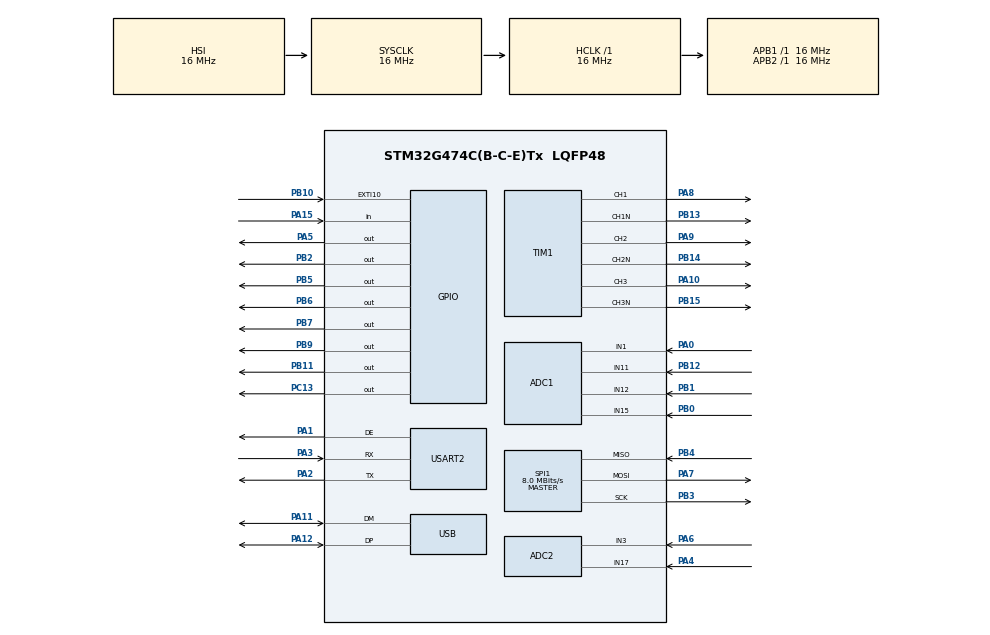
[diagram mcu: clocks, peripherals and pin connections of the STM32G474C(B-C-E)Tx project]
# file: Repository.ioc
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ADC1.Channel-1\#ChannelRegularConversion=ADC_CHANNEL_1
ADC1.NbrOfConversionFlag=1
ADC1.OffsetNumber-1\#ChannelRegularConversion=ADC_OFFSET_NONE
ADC1.Rank-1\#ChannelRegularConversion=1
ADC1.SamplingTime-1\#ChannelRegularConversion=ADC_SAMPLETIME_2CYCLES_5
ADC1.master=1
ADC2.Channel-0\#ChannelRegularConversion=ADC_CHANNEL_17
ADC2.NbrOfConversionFlag=1
ADC2.OffsetNumber-0\#ChannelRegularConversion=ADC_OFFSET_NONE
ADC2.Rank-0\#ChannelRegularConversion=1
ADC2.SamplingTime-0\#ChannelRegularConversion=ADC_SAMPLETIME_2CYCLES_5
Mcu.Family=STM32G4
Mcu.Name=STM32G474C(B-C-E)Tx
Mcu.Package=LQFP48
NVIC.ADC1_2_IRQn=true\:0\:0\:false\:false\:true\:true\:true\:true
NVIC.PriorityGroup=NVIC_PRIORITYGROUP_4
PA0.Mode=IN1-Single-Ended
PA0.Signal=ADC1_IN1
PA1.Mode=Hardware Flow Control (RS485)
PA1.Signal=USART2_DE
PA10.Signal=S_TIM1_CH3
PA11.Mode=Device
PA11.Signal=USB_DM
PA12.Mode=Device
PA12.Signal=USB_DP
PA13.Mode=Serial_Wire
PA13.Signal=SYS_JTMS-SWDIO
PA14.Mode=Serial_Wire
PA14.Signal=SYS_JTCK-SWCLK
PA15.Signal=GPIO_Input
PA2.Mode=Asynchronous
PA2.Signal=USART2_TX
PA3.Mode=Asynchronous
PA3.Signal=USART2_RX
PA4.Mode=IN17-Single-Ended
PA4.Signal=ADC2_IN17
PA5.Signal=GPIO_Output
PA6.Mode=IN3-Single-Ended
PA6.Signal=ADC2_IN3
PA7.Mode=Full_Duplex_Master
PA7.Signal=SPI1_MOSI
PA8.Signal=S_TIM1_CH1
PA9.Signal=S_TIM1_CH2
PB0.Mode=IN15-Single-Ended
PB0.Signal=ADC1_IN15
PB1.Mode=IN12-Single-Ended
PB1.Signal=ADC1_IN12
PB10.Signal=GPXTI10
PB11.Signal=GPIO_Output
PB12.Mode=IN11-Single-Ended
PB12.Signal=ADC1_IN11
PB13.Mode=PWM Generation1 CH1 CH1N
PB13.Signal=TIM1_CH1N
PB14.Mode=PWM Generation2 CH2 CH2N
PB14.Signal=TIM1_CH2N
PB15.Mode=PWM Generation3 CH3 CH3N
PB15.Signal=TIM1_CH3N
PB2.Signal=GPIO_Output
PB3.Mode=Full_Duplex_Master
PB3.Signal=SPI1_SCK
PB4.Mode=Full_Duplex_Master
PB4.Signal=SPI1_MISO
PB5.Signal=GPIO_Output
PB6.Signal=GPIO_Output
PB7.Signal=GPIO_Output
PB9.Signal=GPIO_Output
PC13.Signal=GPIO_Output
PC14-OSC32_IN.Mode=LSE-External-Oscillator
PC14-OSC32_IN.Signal=RCC_OSC32_IN
PC15-OSC32_OUT.Mode=LSE-External-Oscillator
PC15-OSC32_OUT.Signal=RCC_OSC32_OUT
PF0-OSC_IN.Mode=HSE-External-Oscillator
PF0-OSC_IN.Signal=RCC_OSC_IN
PF1-OSC_OUT.Mode=HSE-External-Oscillator
PF1-OSC_OUT.Signal=RCC_OSC_OUT
ProjectManager.HeapSize=0x200
ProjectManager.StackSize=0x400
ProjectManager.TargetToolchain=Makefile
RCC.ADC12Freq_Value=16000000
RCC.ADC345Freq_Value=16000000
RCC.AHBFreq_Value=16000000
RCC.APB1Freq_Value=16000000
RCC.APB1TimFreq_Value=16000000
RCC.APB2Freq_Value=16000000
RCC.APB2TimFreq_Value=16000000
RCC.CortexFreq_Value=16000000
RCC.EXTERNAL_CLOCK_VALUE=12288000
RCC.HCLKFreq_Value=16000000
RCC.HSE_VALUE=16000000
RCC.HSI48_VALUE=48000000
RCC.HSI_VALUE=16000000
RCC.PLLN=12
RCC.PLLQ=RCC_PLLQ_DIV4
RCC.SYSCLKFreq_VALUE=16000000
RCC.USBFreq_Value=48000000
RCC.VCOOutputFreq_Value=192000000
SH.S_TIM1_CH1.0=TIM1_CH1,PWM Generation1 CH1 CH1N
SH.S_TIM1_CH2.0=TIM1_CH2,PWM Generation2 CH2 CH2N
SH.S_TIM1_CH3.0=TIM1_CH3,PWM Generation3 CH3 CH3N
SPI1.CalculateBaudRate=8.0 MBits/s
SPI1.Direction=SPI_DIRECTION_2LINES
SPI1.Mode=SPI_MODE_MASTER
SPI1.VirtualType=VM_MASTER
TIM1.Channel-PWM\ Generation1\ CH1\ CH1N=TIM_CHANNEL_1
TIM1.Channel-PWM\ Generation2\ CH2\ CH2N=TIM_CHANNEL_2
TIM1.Channel-PWM\ Generation3\ CH3\ CH3N=TIM_CHANNEL_3
TIM1.CounterMode=TIM_COUNTERMODE_CENTERALIGNED1
TIM1.DeadTime=5
TIM1.TIM_MasterOutputTrigger=TIM_TRGO_UPDATE
USART2.VirtualMode-Asynchronous=VM_ASYNC
USART2.VirtualMode-Hardware\ Flow\ Control\ (RS485)=VM_ASYNC
VP_SYS_VS_DBSignals.Mode=DisableDeadBatterySignals
board=custom

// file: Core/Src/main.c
/* USER CODE BEGIN Header */
/**
  ******************************************************************************
  * @file           : main.c
  * @brief          : Main program body
  ******************************************************************************
  * @attention
  *
  * Copyright (c) 2026 STMicroelectronics.
  * All rights reserved.
  *
  * This software is licensed under terms that can be found in the LICENSE file
  * in the root directory of this software component.
  * If no LICENSE file comes with this software, it is provided AS-IS.
  *
  ******************************************************************************
  */
/* USER CODE END Header */
#include "main.h"

/* USER CODE BEGIN PD */

/* ----- Open-loop V/Hz sinusoidal drive (STGIPN3H60T IPM, Mitsubishi
 * HC-KFS13 PMSM servo) -----
 * TIM1 timer clock = 16 MHz, center-aligned: f_pwm = 16e6 / (2 * PWM_ARR).
 * PWM_ARR = 400 -> 20 kHz PWM. */
#define PWM_ARR                  400u

/* HC-KFS13 is a 100 W, 200 Vac-class PMSM (0.71 A / 3000 r/min rated, per
 * Mitsubishi's published specs). Its exact pole-pair count isn't in the
 * generally available manuals; 4 pole pairs (8 poles) is typical for this
 * small low-inertia Mitsubishi servo class and used below purely to relate
 * electrical frequency to an approximate mechanical speed in comments --
 * open-loop drive correctness doesn't depend on it. Verify against the
 * motor nameplate/manual if the exact RPM matters. */
#define MOTOR_POLE_PAIRS         4u

/* One electrical cycle, values in [-1, 1]. 96 so that a 120-degree phase
 * shift is an exact 32-sample index offset (96 / 3), avoiding any
 * interpolation/rounding error between the three phases. */
#define SINE_LUT_SIZE            96u

/* TIM1 runs center-aligned, so the update event fires on both the up- and
 * down-count each PWM period -> 2x the 20 kHz carrier. */
#define PWM_UPDATE_HZ            40000.0f
#define LUT_STEP_PER_HZ          ((float)SINE_LUT_SIZE / PWM_UPDATE_HZ)

/* Open-loop start-up ramp: electrical frequency ramps 0 -> ELEC_FREQ_TARGET_HZ
 * over RAMP_TIME_S seconds; modulation index (PWM duty amplitude) ramps
 * alongside it from a fixed low-speed boost (M_START, to overcome resistive
 * drop/static friction while electrical frequency is near 0) up to
 * M_TARGET. No encoder feedback and no current limiting: this only proves
 * the waveform is a genuine rotating field, it is not closed-loop servo
 * control. Keep M_TARGET conservative until current has been verified on
 * the phase shunts (IU/IV/IW) with a scope. */
#define ELEC_FREQ_TARGET_HZ      20.0f     /* -> ~300 r/min @ 4 pole pairs */
#define RAMP_TIME_S              5.0f
#define M_START                  0.10f
#define M_TARGET                 0.80f
#define RAMP_STEP_PER_TICK       (1.0f / (RAMP_TIME_S * PWM_UPDATE_HZ))

/* ----- RS485 daisy-chain ping/pong (USART2, shared TX/RX bus over both
 * RJ45 jacks) ----- */
#define DC_FRAME_LEN             8u
#define DC_SYNC0                 0xAAu
#define DC_SYNC1                 0x55u
#define DC_TYPE_PING             0x01u
#define DC_TYPE_PONG             0x02u
#define DC_PING_PERIOD_MS        1000u
#define DC_LED_BLINK_MS          80u
#define DC_RX_BUF_LEN            64u
#define DC_MAX_PEERS             4u     /* boards remembered in the peer table */

/* ----- ESP32 telemetry / command link (SPI1, STM32 is master) -----
 * All four signals land on the board's existing header, so nothing has to be
 * soldered to the LED pads:
 *
 *   PB3 (GPIO4, SPI_SCK)  -> ESP32 SCLK
 *   PA7 (GPIO6, SPI_MOSI) -> ESP32 MOSI   (telemetry out)
 *   PB4 (GPIO5, SPI_MISO) <- ESP32 MISO   (commands in)
 *   PB9 (free header pin) -> ESP32 CS     (software NSS, active low)
 *   GND                   -- GND
 *
 * SPI was chosen because it is the only full-duplex link available on the
 * reachable pins: PB3/PB4/PA14 all map to USART2, which is already driving the
 * RS485 daisy chain, and PB9's UART partner (USART3_RX) is PB8-BOOT0.
 *
 * SPI1 was already configured by CubeMX as a full-duplex master with soft NSS
 * and never used. Two changes are needed: 8-bit words instead of 4, and a
 * slower clock -- 8 MHz is more than an ESP32 SPI slave will follow reliably.
 *
 * The exchange is symmetric and fixed length: every transfer clocks a
 * telemetry frame out on MOSI while a command frame arrives on MISO. */
#define ESP_FRAME_LEN            72u
#define ESP_PERIOD_MS            50u    /* 20 exchanges per second */

#define ESP_TX_SYNC0             0xA5u  /* STM32 -> ESP32 (telemetry) */
#define ESP_TX_SYNC1             0x5Au
#define ESP_RX_SYNC0             0xC3u  /* ESP32 -> STM32 (command)   */
#define ESP_RX_SYNC1             0x3Cu

#define ESP_CMD_NOP              0x00u
#define ESP_CMD_SET_FREQ         0x01u  /* arg = centi-Hz      */
#define ESP_CMD_SET_MOD          0x02u  /* arg = milli-units   */
#define ESP_CMD_START            0x03u
#define ESP_CMD_STOP             0x04u
#define ESP_CMD_PING             0x05u
#define ESP_CMD_SET_MOD_START    0x06u  /* arg = milli-units   */
#define ESP_CMD_SET_RAMP_MS      0x07u  /* arg = milliseconds  */
#define ESP_CMD_SET_DIR          0x08u  /* arg = 0 fwd, 1 rev  */
#define ESP_CMD_SET_LED          0x09u  /* arg lo = led index, hi = mode */

/* LED override modes for ESP_CMD_SET_LED. */
#define ESP_LED_AUTO             0u
#define ESP_LED_ON               1u
#define ESP_LED_OFF              2u
#define ESP_LED_COUNT            2u     /* 0 = LED1 (PB6), 1 = LED2 (PB7) */

#define ESP_CS_PORT              GPIOB
#define ESP_CS_PIN               GPIO_PIN_9

/* The ESP32 slave needs CS stable a little before the first clock edge and
 * after the last. ~1 us at 16 MHz; HAL_Delay's 1 ms granularity is far too
 * coarse for this. */
#define ESP_CS_SETTLE()          do { for (volatile uint32_t i_ = 0; i_ < 16u; i_++) { __NOP(); } } while (0)

/* USER CODE END PD */

ADC_HandleTypeDef hadc1;
ADC_HandleTypeDef hadc2;

SPI_HandleTypeDef hspi1;

TIM_HandleTypeDef htim1;

UART_HandleTypeDef huart2;

PCD_HandleTypeDef hpcd_USB_FS;

/* USER CODE BEGIN PV */
static volatile uint8_t fault_15v = 0;       /* PA15: 1 = no 15V rail */
static volatile uint32_t dc_peer_frames = 0; /* valid frames seen from other boards */
/* USER CODE END PV */

void SystemClock_Config(void);
static void MX_GPIO_Init(void);
static void MX_ADC1_Init(void);
static void MX_TIM1_Init(void);
static void MX_USB_PCD_Init(void);
static void MX_SPI1_Init(void);
static void MX_ADC2_Init(void);
static void MX_USART2_UART_Init(void);
/* USER CODE BEGIN PFP */
static uint16_t ADC_ReadChannel(ADC_HandleTypeDef *hadc, uint32_t channel);
static void Esp_Init(void);
static void Esp_Poll(void);
static void Esp_Exchange(void);
static void Esp_ApplyCommand(const uint8_t *frame);
static void Motor_PWM_Update(void);
static void DaisyChain_Init(void);
static void DaisyChain_Send(uint8_t type);
static void DaisyChain_ProcessRx(void);
static void DaisyChain_Poll(void);
static void DaisyChain_BlinkLed(void);
static void DaisyChain_NotePeer(uint32_t id);
static uint32_t DaisyChain_Rand(void);
static void Leds_Apply(void);
/* USER CODE END PFP */

int main(void)
{

  /* MCU Configuration--------------------------------------------------------*/

  /* Reset of all peripherals, Initializes the Flash interface and the Systick. */
  HAL_Init();

  /* Configure the system clock */
  SystemClock_Config();

  /* Initialize all configured peripherals */
  MX_GPIO_Init();
  MX_ADC1_Init();
  MX_TIM1_Init();
  MX_USB_PCD_Init();
  MX_SPI1_Init();
  MX_ADC2_Init();
  MX_USART2_UART_Init();
  /* USER CODE BEGIN 2 */
  /* Sinusoidal open-loop drive through the STGIPN3H60T IPM.
   *   PA8/PB13  = HIN1/LIN1 -> phase U
   *   PA9/PB14  = HIN2/LIN2 -> phase V
   *   PA10/PB15 = HIN3/LIN3 -> phase W
   * TIM1 produces the complementary HIN/LIN pairs with dead-time; the IPM
   * inputs are active-high. Motor_PWM_Update() (called from the TIM1 update
   * interrupt) drives each phase with a 120-degree-shifted sine, ramping
   * frequency and amplitude together -- a genuine rotating field, unlike
   * the previous equal-duty smoke test which produced zero line-to-line
   * voltage and no torque. */

  /* Hold PA5 (NSD_ADC) high at all times to keep the current/voltage-sense
   * signal conditioning out of shutdown. It defaults to a plain input;
   * override it to a push-pull output and drive it high. Set ODR high first
   * to avoid a glitch when the pin switches to output. */
  HAL_GPIO_WritePin(GPIOA, GPIO_PIN_5, GPIO_PIN_SET);
  {
    GPIO_InitTypeDef pa5 = {0};
    pa5.Pin   = GPIO_PIN_5;
    pa5.Mode  = GPIO_MODE_OUTPUT_PP;
    pa5.Pull  = GPIO_NOPULL;
    pa5.Speed = GPIO_SPEED_FREQ_LOW;
    HAL_GPIO_Init(GPIOA, &pa5);
  }

  /* PB11 ("RS") is NOT a digital IPM enable pin: it feeds an RC filter
   * (R12/C16) into the IPM's CIN pin, the analog overcurrent-comparator
   * input that gates the U-channel driver specifically. Driving it high
   * holds CIN above its trip threshold, permanently faulting out U while
   * leaving V/W unaffected. Keep it low so CIN stays below threshold.
   * NOTE: this also means the IPM's own overcurrent comparator can never
   * trip (CIN is held below threshold at all times) -- there is no
   * hardware or software current protection on this drive. */
  HAL_GPIO_WritePin(GPIOB, GPIO_PIN_11, GPIO_PIN_RESET);

  HAL_TIM_PWM_Start(&htim1, TIM_CHANNEL_1);
  HAL_TIMEx_PWMN_Start(&htim1, TIM_CHANNEL_1);
  HAL_TIM_PWM_Start(&htim1, TIM_CHANNEL_2);
  HAL_TIMEx_PWMN_Start(&htim1, TIM_CHANNEL_2);
  HAL_TIM_PWM_Start(&htim1, TIM_CHANNEL_3);
  HAL_TIMEx_PWMN_Start(&htim1, TIM_CHANNEL_3);
  HAL_TIM_Base_Start_IT(&htim1);

  /* RS485 daisy-chain ping/pong discovery (USART2, shared bus over both
   * RJ45 jacks). */
  DaisyChain_Init();

  /* ESP32 telemetry/command link on SPI1 (PB3/PB4/PA7 + PB9 as CS). Also
   * calibrates ADC1 and ADC2 -- they were initialised by CubeMX but never
   * calibrated or started. */
  Esp_Init();
  /* USER CODE END 2 */

  /* Infinite loop */
  while (1)
  {

    /* USER CODE BEGIN 3 */
    /* 15V-supply status housekeeping (preserved from the smoke test).
     * PA15 (Fault_15V) high -> no 15V. The state is also published in the
     * telemetry frame so the ESP32 dashboard can show it. */
    fault_15v = (HAL_GPIO_ReadPin(GPIOA, GPIO_PIN_15) == GPIO_PIN_SET) ? 1u : 0u;
    HAL_GPIO_WritePin(GPIOB, GPIO_PIN_5, fault_15v ? GPIO_PIN_SET : GPIO_PIN_RESET);
    Leds_Apply();

    /* U/V/W duty is updated from the TIM1 update interrupt (Motor_PWM_Update) —
     * nothing to do for the motor drive here. */
    DaisyChain_Poll();
    Esp_Poll();
  }
  /* USER CODE END 3 */
}

void SystemClock_Config(void)
{
  RCC_OscInitTypeDef RCC_OscInitStruct = {0};
  RCC_ClkInitTypeDef RCC_ClkInitStruct = {0};

  /** Configure the main internal regulator output voltage
  */
  HAL_PWREx_ControlVoltageScaling(PWR_REGULATOR_VOLTAGE_SCALE1);

  /** Initializes the RCC Oscillators according to the specified parameters
  * in the RCC_OscInitTypeDef structure.
  */
  RCC_OscInitStruct.OscillatorType = RCC_OSCILLATORTYPE_HSI;
  RCC_OscInitStruct.HSIState = RCC_HSI_ON;
  RCC_OscInitStruct.HSICalibrationValue = RCC_HSICALIBRATION_DEFAULT;
  RCC_OscInitStruct.PLL.PLLState = RCC_PLL_ON;
  RCC_OscInitStruct.PLL.PLLSource = RCC_PLLSOURCE_HSI;
  RCC_OscInitStruct.PLL.PLLM = RCC_PLLM_DIV1;
  RCC_OscInitStruct.PLL.PLLN = 12;
  RCC_OscInitStruct.PLL.PLLP = RCC_PLLP_DIV2;
  RCC_OscInitStruct.PLL.PLLQ = RCC_PLLQ_DIV4;
  RCC_OscInitStruct.PLL.PLLR = RCC_PLLR_DIV2;
  if (HAL_RCC_OscConfig(&RCC_OscInitStruct) != HAL_OK)
  {
    Error_Handler();
  }

  /** Initializes the CPU, AHB and APB buses clocks
  */
  RCC_ClkInitStruct.ClockType = RCC_CLOCKTYPE_HCLK|RCC_CLOCKTYPE_SYSCLK
                              |RCC_CLOCKTYPE_PCLK1|RCC_CLOCKTYPE_PCLK2;
  RCC_ClkInitStruct.SYSCLKSource = RCC_SYSCLKSOURCE_HSI;
  RCC_ClkInitStruct.AHBCLKDivider = RCC_SYSCLK_DIV1;
  RCC_ClkInitStruct.APB1CLKDivider = RCC_HCLK_DIV1;
  RCC_ClkInitStruct.APB2CLKDivider = RCC_HCLK_DIV1;

  if (HAL_RCC_ClockConfig(&RCC_ClkInitStruct, FLASH_LATENCY_0) != HAL_OK)
  {
    Error_Handler();
  }
}

static void MX_ADC1_Init(void)
{

  ADC_MultiModeTypeDef multimode = {0};
  ADC_ChannelConfTypeDef sConfig = {0};

  /** Common config
  */
  hadc1.Instance = ADC1;
  hadc1.Init.ClockPrescaler = ADC_CLOCK_SYNC_PCLK_DIV2;
  hadc1.Init.Resolution = ADC_RESOLUTION_12B;
  hadc1.Init.DataAlign = ADC_DATAALIGN_RIGHT;
  hadc1.Init.GainCompensation = 0;
  hadc1.Init.ScanConvMode = ADC_SCAN_DISABLE;
  hadc1.Init.EOCSelection = ADC_EOC_SINGLE_CONV;
  hadc1.Init.LowPowerAutoWait = DISABLE;
  hadc1.Init.ContinuousConvMode = DISABLE;
  hadc1.Init.NbrOfConversion = 1;
  hadc1.Init.DiscontinuousConvMode = DISABLE;
  hadc1.Init.ExternalTrigConv = ADC_SOFTWARE_START;
  hadc1.Init.ExternalTrigConvEdge = ADC_EXTERNALTRIGCONVEDGE_NONE;
  hadc1.Init.DMAContinuousRequests = DISABLE;
  hadc1.Init.Overrun = ADC_OVR_DATA_PRESERVED;
  hadc1.Init.OversamplingMode = DISABLE;
  if (HAL_ADC_Init(&hadc1) != HAL_OK)
  {
    Error_Handler();
  }

  /** Configure the ADC multi-mode
  */
  multimode.Mode = ADC_MODE_INDEPENDENT;
  if (HAL_ADCEx_MultiModeConfigChannel(&hadc1, &multimode) != HAL_OK)
  {
    Error_Handler();
  }

  /** Configure Regular Channel
  */
  sConfig.Channel = ADC_CHANNEL_1;
  sConfig.Rank = ADC_REGULAR_RANK_1;
  sConfig.SamplingTime = ADC_SAMPLETIME_2CYCLES_5;
  sConfig.SingleDiff = ADC_SINGLE_ENDED;
  sConfig.OffsetNumber = ADC_OFFSET_NONE;
  sConfig.Offset = 0;
  if (HAL_ADC_ConfigChannel(&hadc1, &sConfig) != HAL_OK)
  {
    Error_Handler();
  }

}

static void MX_ADC2_Init(void)
{

  ADC_ChannelConfTypeDef sConfig = {0};

  /** Common config
  */
  hadc2.Instance = ADC2;
  hadc2.Init.ClockPrescaler = ADC_CLOCK_SYNC_PCLK_DIV2;
  hadc2.Init.Resolution = ADC_RESOLUTION_12B;
  hadc2.Init.DataAlign = ADC_DATAALIGN_RIGHT;
  hadc2.Init.GainCompensation = 0;
  hadc2.Init.ScanConvMode = ADC_SCAN_DISABLE;
  hadc2.Init.EOCSelection = ADC_EOC_SINGLE_CONV;
  hadc2.Init.LowPowerAutoWait = DISABLE;
  hadc2.Init.ContinuousConvMode = DISABLE;
  hadc2.Init.NbrOfConversion = 1;
  hadc2.Init.DiscontinuousConvMode = DISABLE;
  hadc2.Init.ExternalTrigConv = ADC_SOFTWARE_START;
  hadc2.Init.ExternalTrigConvEdge = ADC_EXTERNALTRIGCONVEDGE_NONE;
  hadc2.Init.DMAContinuousRequests = DISABLE;
  hadc2.Init.Overrun = ADC_OVR_DATA_PRESERVED;
  hadc2.Init.OversamplingMode = DISABLE;
  if (HAL_ADC_Init(&hadc2) != HAL_OK)
  {
    Error_Handler();
  }

  /** Configure Regular Channel
  */
  sConfig.Channel = ADC_CHANNEL_17;
  sConfig.Rank = ADC_REGULAR_RANK_1;
  sConfig.SamplingTime = ADC_SAMPLETIME_2CYCLES_5;
  sConfig.SingleDiff = ADC_SINGLE_ENDED;
  sConfig.OffsetNumber = ADC_OFFSET_NONE;
  sConfig.Offset = 0;
  if (HAL_ADC_ConfigChannel(&hadc2, &sConfig) != HAL_OK)
  {
    Error_Handler();
  }

}

static void MX_SPI1_Init(void)
{

  /* SPI1 parameter configuration*/
  hspi1.Instance = SPI1;
  hspi1.Init.Mode = SPI_MODE_MASTER;
  hspi1.Init.Direction = SPI_DIRECTION_2LINES;
  hspi1.Init.DataSize = SPI_DATASIZE_8BIT;
  hspi1.Init.CLKPolarity = SPI_POLARITY_LOW;
  hspi1.Init.CLKPhase = SPI_PHASE_1EDGE;
  hspi1.Init.NSS = SPI_NSS_SOFT;
  hspi1.Init.BaudRatePrescaler = SPI_BAUDRATEPRESCALER_16;  /* 16 MHz / 16 = 1 MHz */
  hspi1.Init.FirstBit = SPI_FIRSTBIT_MSB;
  hspi1.Init.TIMode = SPI_TIMODE_DISABLE;
  hspi1.Init.CRCCalculation = SPI_CRCCALCULATION_DISABLE;
  hspi1.Init.CRCPolynomial = 7;
  hspi1.Init.CRCLength = SPI_CRC_LENGTH_DATASIZE;
  hspi1.Init.NSSPMode = SPI_NSS_PULSE_ENABLE;
  if (HAL_SPI_Init(&hspi1) != HAL_OK)
  {
    Error_Handler();
  }

}

static void MX_TIM1_Init(void)
{

  TIM_MasterConfigTypeDef sMasterConfig = {0};
  TIM_OC_InitTypeDef sConfigOC = {0};
  TIM_BreakDeadTimeConfigTypeDef sBreakDeadTimeConfig = {0};

  htim1.Instance = TIM1;
  htim1.Init.Prescaler = 0;
  htim1.Init.CounterMode = TIM_COUNTERMODE_CENTERALIGNED1;
  htim1.Init.Period = PWM_ARR;
  htim1.Init.ClockDivision = TIM_CLOCKDIVISION_DIV1;
  htim1.Init.RepetitionCounter = 0;
  htim1.Init.AutoReloadPreload = TIM_AUTORELOAD_PRELOAD_DISABLE;
  if (HAL_TIM_PWM_Init(&htim1) != HAL_OK)
  {
    Error_Handler();
  }
  sMasterConfig.MasterOutputTrigger = TIM_TRGO_UPDATE;
  sMasterConfig.MasterOutputTrigger2 = TIM_TRGO2_RESET;
  sMasterConfig.MasterSlaveMode = TIM_MASTERSLAVEMODE_DISABLE;
  if (HAL_TIMEx_MasterConfigSynchronization(&htim1, &sMasterConfig) != HAL_OK)
  {
    Error_Handler();
  }
  sConfigOC.OCMode = TIM_OCMODE_PWM1;
  sConfigOC.Pulse = 0;
  sConfigOC.OCPolarity = TIM_OCPOLARITY_HIGH;
  sConfigOC.OCNPolarity = TIM_OCNPOLARITY_HIGH;
  sConfigOC.OCFastMode = TIM_OCFAST_DISABLE;
  sConfigOC.OCIdleState = TIM_OCIDLESTATE_RESET;
  sConfigOC.OCNIdleState = TIM_OCNIDLESTATE_RESET;
  if (HAL_TIM_PWM_ConfigChannel(&htim1, &sConfigOC, TIM_CHANNEL_1) != HAL_OK)
  {
    Error_Handler();
  }
  if (HAL_TIM_PWM_ConfigChannel(&htim1, &sConfigOC, TIM_CHANNEL_2) != HAL_OK)
  {
    Error_Handler();
  }
  if (HAL_TIM_PWM_ConfigChannel(&htim1, &sConfigOC, TIM_CHANNEL_3) != HAL_OK)
  {
    Error_Handler();
  }
  sBreakDeadTimeConfig.OffStateRunMode = TIM_OSSR_DISABLE;
  sBreakDeadTimeConfig.OffStateIDLEMode = TIM_OSSI_DISABLE;
  sBreakDeadTimeConfig.LockLevel = TIM_LOCKLEVEL_OFF;
  sBreakDeadTimeConfig.DeadTime = 5;
  sBreakDeadTimeConfig.BreakState = TIM_BREAK_DISABLE;
  sBreakDeadTimeConfig.BreakPolarity = TIM_BREAKPOLARITY_HIGH;
  sBreakDeadTimeConfig.BreakFilter = 0;
  sBreakDeadTimeConfig.BreakAFMode = TIM_BREAK_AFMODE_INPUT;
  sBreakDeadTimeConfig.Break2State = TIM_BREAK2_DISABLE;
  sBreakDeadTimeConfig.Break2Polarity = TIM_BREAK2POLARITY_HIGH;
  sBreakDeadTimeConfig.Break2Filter = 0;
  sBreakDeadTimeConfig.Break2AFMode = TIM_BREAK_AFMODE_INPUT;
  sBreakDeadTimeConfig.AutomaticOutput = TIM_AUTOMATICOUTPUT_DISABLE;
  if (HAL_TIMEx_ConfigBreakDeadTime(&htim1, &sBreakDeadTimeConfig) != HAL_OK)
  {
    Error_Handler();
  }
  HAL_TIM_MspPostInit(&htim1);

}

static void MX_USART2_UART_Init(void)
{

  huart2.Instance = USART2;
  huart2.Init.BaudRate = 115200;
  huart2.Init.WordLength = UART_WORDLENGTH_8B;
  huart2.Init.StopBits = UART_STOPBITS_1;
  huart2.Init.Parity = UART_PARITY_NONE;
  huart2.Init.Mode = UART_MODE_TX_RX;
  huart2.Init.HwFlowCtl = UART_HWCONTROL_NONE;
  huart2.Init.OverSampling = UART_OVERSAMPLING_16;
  huart2.Init.OneBitSampling = UART_ONE_BIT_SAMPLE_DISABLE;
  huart2.Init.ClockPrescaler = UART_PRESCALER_DIV1;
  huart2.AdvancedInit.AdvFeatureInit = UART_ADVFEATURE_NO_INIT;
  if (HAL_RS485Ex_Init(&huart2, UART_DE_POLARITY_HIGH, 0, 0) != HAL_OK)
  {
    Error_Handler();
  }
  if (HAL_UARTEx_SetTxFifoThreshold(&huart2, UART_TXFIFO_THRESHOLD_1_8) != HAL_OK)
  {
    Error_Handler();
  }
  if (HAL_UARTEx_SetRxFifoThreshold(&huart2, UART_RXFIFO_THRESHOLD_1_8) != HAL_OK)
  {
    Error_Handler();
  }
  if (HAL_UARTEx_DisableFifoMode(&huart2) != HAL_OK)
  {
    Error_Handler();
  }

}

static void MX_USB_PCD_Init(void)
{

  hpcd_USB_FS.Instance = USB;
  hpcd_USB_FS.Init.dev_endpoints = 8;
  hpcd_USB_FS.Init.speed = PCD_SPEED_FULL;
  hpcd_USB_FS.Init.phy_itface = PCD_PHY_EMBEDDED;
  hpcd_USB_FS.Init.Sof_enable = DISABLE;
  hpcd_USB_FS.Init.low_power_enable = DISABLE;
  hpcd_USB_FS.Init.lpm_enable = DISABLE;
  hpcd_USB_FS.Init.battery_charging_enable = DISABLE;
  if (HAL_PCD_Init(&hpcd_USB_FS) != HAL_OK)
  {
    Error_Handler();
  }

}

static void MX_GPIO_Init(void)
{
  GPIO_InitTypeDef GPIO_InitStruct = {0};

  /* GPIO Ports Clock Enable */
  __HAL_RCC_GPIOC_CLK_ENABLE();
  __HAL_RCC_GPIOF_CLK_ENABLE();
  __HAL_RCC_GPIOA_CLK_ENABLE();
  __HAL_RCC_GPIOB_CLK_ENABLE();

  /*Configure GPIO pin Output Level */
  HAL_GPIO_WritePin(GPIOC, GPIO_PIN_13, GPIO_PIN_RESET);

  /*Configure GPIO pin Output Level */
  HAL_GPIO_WritePin(GPIOB, GPIO_PIN_2|GPIO_PIN_11|GPIO_PIN_5|GPIO_PIN_6
                          |GPIO_PIN_7|GPIO_PIN_9, GPIO_PIN_RESET);

  /*Configure GPIO pin : PC13 */
  GPIO_InitStruct.Pin = GPIO_PIN_13;
  GPIO_InitStruct.Mode = GPIO_MODE_OUTPUT_PP;
  GPIO_InitStruct.Pull = GPIO_NOPULL;
  GPIO_InitStruct.Speed = GPIO_SPEED_FREQ_LOW;
  HAL_GPIO_Init(GPIOC, &GPIO_InitStruct);

  /*Configure GPIO pins : PA5 PA15 */
  GPIO_InitStruct.Pin = GPIO_PIN_5|GPIO_PIN_15;
  GPIO_InitStruct.Mode = GPIO_MODE_INPUT;
  GPIO_InitStruct.Pull = GPIO_NOPULL;
  HAL_GPIO_Init(GPIOA, &GPIO_InitStruct);

  /*Configure GPIO pins : PB2 PB11 PB5 PB6
                           PB7 PB9
    PB9 doubles as the software-NSS chip select for the ESP32 SPI link; it is
    driven high (idle) in Esp_Init(). */
  GPIO_InitStruct.Pin = GPIO_PIN_2|GPIO_PIN_11|GPIO_PIN_5|GPIO_PIN_6
                          |GPIO_PIN_7|GPIO_PIN_9;
  GPIO_InitStruct.Mode = GPIO_MODE_OUTPUT_PP;
  GPIO_InitStruct.Pull = GPIO_NOPULL;
  GPIO_InitStruct.Speed = GPIO_SPEED_FREQ_LOW;
  HAL_GPIO_Init(GPIOB, &GPIO_InitStruct);

  /*Configure GPIO pin : PB10 */
  GPIO_InitStruct.Pin = GPIO_PIN_10;
  GPIO_InitStruct.Mode = GPIO_MODE_IT_RISING;
  GPIO_InitStruct.Pull = GPIO_NOPULL;
  HAL_GPIO_Init(GPIOB, &GPIO_InitStruct);

}

/* USER CODE BEGIN 4 */

/* ===== Open-loop sinusoidal V/Hz motor drive ============================ */

/* One electrical cycle, generated offline: sinf(2*pi*i/SINE_LUT_SIZE). */
static const float sine_lut[SINE_LUT_SIZE] =
{
  0.000000f, 0.065403f, 0.130526f, 0.195090f, 0.258819f, 0.321439f, 0.382683f, 0.442289f,
  0.500000f, 0.555570f, 0.608761f, 0.659346f, 0.707107f, 0.751840f, 0.793353f, 0.831470f,
  0.866025f, 0.896873f, 0.923880f, 0.946930f, 0.965926f, 0.980785f, 0.991445f, 0.997859f,
  1.000000f, 0.997859f, 0.991445f, 0.980785f, 0.965926f, 0.946930f, 0.923880f, 0.896873f,
  0.866025f, 0.831470f, 0.793353f, 0.751840f, 0.707107f, 0.659346f, 0.608761f, 0.555570f,
  0.500000f, 0.442289f, 0.382683f, 0.321439f, 0.258819f, 0.195090f, 0.130526f, 0.065403f,
  0.000000f, -0.065403f, -0.130526f, -0.195090f, -0.258819f, -0.321439f, -0.382683f, -0.442289f,
  -0.500000f, -0.555570f, -0.608761f, -0.659346f, -0.707107f, -0.751840f, -0.793353f, -0.831470f,
  -0.866025f, -0.896873f, -0.923880f, -0.946930f, -0.965926f, -0.980785f, -0.991445f, -0.997859f,
  -1.000000f, -0.997859f, -0.991445f, -0.980785f, -0.965926f, -0.946930f, -0.923880f, -0.896873f,
  -0.866025f, -0.831470f, -0.793353f, -0.751840f, -0.707107f, -0.659346f, -0.608761f, -0.555570f,
  -0.500000f, -0.442289f, -0.382683f, -0.321439f, -0.258819f, -0.195090f, -0.130526f, -0.065403f,
};

static float motor_phase_idx = 0.0f;   /* current position in sine_lut, wraps at SINE_LUT_SIZE */
static float motor_ramp_frac = 0.0f;   /* 0..1 progress through the start-up ramp */

/* Setpoints the ESP32 can write at runtime. Read by Motor_PWM_Update() in the
 * TIM1 ISR, written by the main loop: single 32-bit words, so each store is
 * atomic on Cortex-M4 and no critical section is needed. */
static volatile float motor_freq_target = ELEC_FREQ_TARGET_HZ;
static volatile float motor_mod_target  = M_TARGET;
static volatile float motor_mod_start   = M_START;
static volatile float motor_ramp_step   = RAMP_STEP_PER_TICK;
static volatile uint16_t motor_ramp_ms  = (uint16_t)(RAMP_TIME_S * 1000.0f);
static volatile uint8_t motor_reverse   = 0;  /* 1 = swap V/W -> reverse rotation */

/* LED override state. Index 0 = LED1 (PB6), 1 = LED2 (PB7). While a LED is in
 * ESP_LED_AUTO the firmware drives it as before; otherwise the dashboard owns
 * it and the automatic logic leaves it alone. */
static volatile uint8_t led_mode[ESP_LED_COUNT] = { ESP_LED_AUTO, ESP_LED_AUTO };

static void Motor_PWM_Update(void)
{
  if (motor_ramp_frac < 1.0f)
  {
    motor_ramp_frac += motor_ramp_step;
    if (motor_ramp_frac > 1.0f)
    {
      motor_ramp_frac = 1.0f;
    }
  }

  float m_start_now = motor_mod_start;
  float elec_freq_now = motor_ramp_frac * motor_freq_target;
  float m_now = m_start_now + motor_ramp_frac * (motor_mod_target - m_start_now);

  motor_phase_idx += elec_freq_now * LUT_STEP_PER_HZ;
  if (motor_phase_idx >= (float)SINE_LUT_SIZE)
  {
    motor_phase_idx -= (float)SINE_LUT_SIZE;
  }

  uint32_t idx_u = (uint32_t)motor_phase_idx % SINE_LUT_SIZE;
  uint32_t idx_lag  = (idx_u + SINE_LUT_SIZE - SINE_LUT_SIZE / 3u) % SINE_LUT_SIZE;
  uint32_t idx_lead = (idx_u + SINE_LUT_SIZE / 3u) % SINE_LUT_SIZE;
  /* Swapping which of V/W leads reverses the rotating field. */
  uint32_t idx_v = motor_reverse ? idx_lead : idx_lag;
  uint32_t idx_w = motor_reverse ? idx_lag  : idx_lead;

  uint32_t ccu = (uint32_t)((float)(PWM_ARR / 2u) * (1.0f + m_now * sine_lut[idx_u]));
  uint32_t ccv = (uint32_t)((float)(PWM_ARR / 2u) * (1.0f + m_now * sine_lut[idx_v]));
  uint32_t ccw = (uint32_t)((float)(PWM_ARR / 2u) * (1.0f + m_now * sine_lut[idx_w]));

  __HAL_TIM_SET_COMPARE(&htim1, TIM_CHANNEL_1, ccu);
  __HAL_TIM_SET_COMPARE(&htim1, TIM_CHANNEL_2, ccv);
  __HAL_TIM_SET_COMPARE(&htim1, TIM_CHANNEL_3, ccw);
}

/* LED1 (PB6) normally mirrors "15V present"; LED2 (PB7) is blinked by the
 * daisy chain. Either can be taken over from the dashboard. */
static void Leds_Apply(void)
{
  if (led_mode[0] == ESP_LED_AUTO)
  {
    HAL_GPIO_WritePin(GPIOB, GPIO_PIN_6, fault_15v ? GPIO_PIN_RESET : GPIO_PIN_SET);
  }
  else
  {
    HAL_GPIO_WritePin(GPIOB, GPIO_PIN_6,
                      (led_mode[0] == ESP_LED_ON) ? GPIO_PIN_SET : GPIO_PIN_RESET);
  }

  if (led_mode[1] != ESP_LED_AUTO)
  {
    HAL_GPIO_WritePin(GPIOB, GPIO_PIN_7,
                      (led_mode[1] == ESP_LED_ON) ? GPIO_PIN_SET : GPIO_PIN_RESET);
  }
}

void HAL_TIM_PeriodElapsedCallback(TIM_HandleTypeDef *htim)
{
  if (htim->Instance == TIM1)
  {
    Motor_PWM_Update();
  }
}

/* ===== RS485 daisy-chain ping/pong ======================================= */

static uint32_t board_id;

static uint8_t dc_rx_byte;                /* landing pad for HAL_UART_Receive_IT */
static uint8_t dc_rx_ring[DC_RX_BUF_LEN];
static volatile uint16_t dc_rx_head = 0;  /* written by the RX-complete ISR */
static uint16_t dc_rx_tail = 0;           /* read by the main loop */

static uint32_t dc_peer_id[DC_MAX_PEERS];
static uint32_t dc_peer_seen[DC_MAX_PEERS];   /* HAL_GetTick() of last frame */
static uint8_t dc_peer_count = 0;

static uint32_t dc_rand_state;
static uint32_t dc_next_ping_tick = 0;
static uint32_t dc_led_off_tick = 0;
static uint32_t dc_pong_due_tick = 0;
static uint8_t dc_pong_pending = 0;

static uint32_t DaisyChain_Rand(void)
{
  /* Numerical Recipes LCG: enough randomness to stagger bus access on a
   * shared half-duplex link, not intended to be cryptographically sound. */
  dc_rand_state = dc_rand_state * 1664525u + 1013904223u;
  return dc_rand_state;
}

static void DaisyChain_BlinkLed(void)
{
  if (led_mode[1] == ESP_LED_AUTO)
  {
    HAL_GPIO_WritePin(GPIOB, GPIO_PIN_7, GPIO_PIN_SET); /* LED2 */
    dc_led_off_tick = HAL_GetTick() + DC_LED_BLINK_MS;
  }
  dc_peer_frames++;   /* also reported in the telemetry frame */
}

/* Remember which boards are on the chain. The table is tiny and searched
 * linearly -- DC_MAX_PEERS is 4. When it is full the least recently heard
 * entry is evicted, so a board that drops off eventually makes room. */
static void DaisyChain_NotePeer(uint32_t id)
{
  uint32_t now = HAL_GetTick();

  for (uint8_t i = 0; i < dc_peer_count; i++)
  {
    if (dc_peer_id[i] == id)
    {
      dc_peer_seen[i] = now;
      return;
    }
  }

  if (dc_peer_count < DC_MAX_PEERS)
  {
    dc_peer_id[dc_peer_count] = id;
    dc_peer_seen[dc_peer_count] = now;
    dc_peer_count++;
    return;
  }

  uint8_t oldest = 0;
  for (uint8_t i = 1; i < DC_MAX_PEERS; i++)
  {
    if ((int32_t)(dc_peer_seen[i] - dc_peer_seen[oldest]) < 0)
    {
      oldest = i;
    }
  }
  dc_peer_id[oldest] = id;
  dc_peer_seen[oldest] = now;
}

static void DaisyChain_Send(uint8_t type)
{
  uint8_t frame[DC_FRAME_LEN];
  frame[0] = DC_SYNC0;
  frame[1] = DC_SYNC1;
  frame[2] = type;
  frame[3] = (uint8_t)(board_id);
  frame[4] = (uint8_t)(board_id >> 8);
  frame[5] = (uint8_t)(board_id >> 16);
  frame[6] = (uint8_t)(board_id >> 24);
  frame[7] = (uint8_t)(frame[2] ^ frame[3] ^ frame[4] ^ frame[5] ^ frame[6]);
  HAL_UART_Transmit(&huart2, frame, DC_FRAME_LEN, 20);
}

static void DaisyChain_ProcessRx(void)
{
  for (;;)
  {
    uint16_t head = dc_rx_head;
    uint16_t available = (uint16_t)((head + DC_RX_BUF_LEN - dc_rx_tail) % DC_RX_BUF_LEN);
    if (available < DC_FRAME_LEN)
    {
      break;
    }

    uint8_t b0 = dc_rx_ring[dc_rx_tail];
    uint8_t b1 = dc_rx_ring[(dc_rx_tail + 1u) % DC_RX_BUF_LEN];
    if (b0 != DC_SYNC0 || b1 != DC_SYNC1)
    {
      dc_rx_tail = (uint16_t)((dc_rx_tail + 1u) % DC_RX_BUF_LEN); /* resync: drop one byte */
      continue;
    }

    uint8_t frame[DC_FRAME_LEN];
    for (uint32_t i = 0; i < DC_FRAME_LEN; i++)
    {
      frame[i] = dc_rx_ring[(dc_rx_tail + i) % DC_RX_BUF_LEN];
    }

    uint8_t checksum = (uint8_t)(frame[2] ^ frame[3] ^ frame[4] ^ frame[5] ^ frame[6]);
    if (checksum != frame[7])
    {
      dc_rx_tail = (uint16_t)((dc_rx_tail + 1u) % DC_RX_BUF_LEN); /* resync: bad checksum */
      continue;
    }

    dc_rx_tail = (uint16_t)((dc_rx_tail + DC_FRAME_LEN) % DC_RX_BUF_LEN);

    uint32_t sender_id = (uint32_t)frame[3] | ((uint32_t)frame[4] << 8) |
                          ((uint32_t)frame[5] << 16) | ((uint32_t)frame[6] << 24);
    if (sender_id == board_id)
    {
      continue; /* ignore any echo of our own transmission */
    }

    DaisyChain_BlinkLed();
    DaisyChain_NotePeer(sender_id);

    if (frame[2] == DC_TYPE_PING)
    {
      /* Randomized backoff before replying: the TX pair is a shared bus
       * with no collision detection, so every board replying to a
       * broadcast ping at the same instant would collide. */
      dc_pong_due_tick = HAL_GetTick() + 1u + (DaisyChain_Rand() % 15u);
      dc_pong_pending = 1;
    }
  }
}

static void DaisyChain_Init(void)
{
  board_id = HAL_GetUIDw0() ^ HAL_GetUIDw1() ^ HAL_GetUIDw2();

  dc_rand_state = board_id ^ HAL_GetTick() ^ 0xA5A5A5A5u;
  if (dc_rand_state == 0u)
  {
    dc_rand_state = 0xDEADBEEFu; /* LCG must not start at 0 */
  }

  /* Stagger the first ping so boards that power up together don't all
   * transmit in the same instant. */
  dc_next_ping_tick = HAL_GetTick() + (DaisyChain_Rand() % DC_PING_PERIOD_MS);

  HAL_UART_Receive_IT(&huart2, &dc_rx_byte, 1);
}

static void DaisyChain_Poll(void)
{
  DaisyChain_ProcessRx();

  if (dc_pong_pending && (int32_t)(HAL_GetTick() - dc_pong_due_tick) >= 0)
  {
    DaisyChain_Send(DC_TYPE_PONG);
    dc_pong_pending = 0;
  }

  if ((int32_t)(HAL_GetTick() - dc_next_ping_tick) >= 0)
  {
    DaisyChain_Send(DC_TYPE_PING);
    dc_next_ping_tick = HAL_GetTick() + DC_PING_PERIOD_MS;
  }

  if (dc_led_off_tick != 0u && (int32_t)(HAL_GetTick() - dc_led_off_tick) >= 0)
  {
    if (led_mode[1] == ESP_LED_AUTO)
    {
      HAL_GPIO_WritePin(GPIOB, GPIO_PIN_7, GPIO_PIN_RESET);
    }
    dc_led_off_tick = 0u;
  }
}

void HAL_UART_RxCpltCallback(UART_HandleTypeDef *huart)
{
  if (huart->Instance == USART2)
  {
    dc_rx_ring[dc_rx_head] = dc_rx_byte;
    dc_rx_head = (uint16_t)((dc_rx_head + 1u) % DC_RX_BUF_LEN);
    HAL_UART_Receive_IT(&huart2, &dc_rx_byte, 1);
  }
}

/* ===== ESP32 telemetry / command link (SPI1 master, PB3/PB4/PA7 + PB9 CS) ==
 *
 * One fixed-length full-duplex transfer per period: the telemetry frame is
 * clocked out on MOSI while the ESP32's command frame arrives on MISO. The
 * ESP32 runs as an SPI slave and stages its reply before the transfer starts,
 * so the command it returns is always the one it prepared last time round --
 * that one-frame lag is why commands carry a sequence number.
 *
 * Telemetry frame (STM32 -> ESP32), 72 bytes, little-endian:
 *    0     0xA5 sync
 *    1     0x5A sync
 *    2-3   VDC        4-5   VU        6-7   VV (always 0)
 *    8-9   VW        10-11  IU       12-13  IV       14-15  IW
 *    16    flags: bit0 = 15V fault, bit1 = outputs enabled,
 *                 bit2 = reverse, bit3 = PB10 input level
 *    17    number of daisy-chain peers in the table
 *    18-21 total RS485 frames seen from other boards
 *    22-23 electrical frequency setpoint, centi-Hz
 *    24-25 modulation index target, milli-units
 *    26-29 this board's id
 *    30-31 modulation index at start of ramp, milli-units
 *    32-33 ramp time, milliseconds
 *    34-35 live ramp progress, milli (0..1000)
 *    36-37 PWM_ARR (carrier = 16 MHz / (2 * ARR))
 *    38    LED1 mode      39   LED2 mode   (0 auto, 1 on, 2 off)
 *    40-63 peer table: 4 entries of { u32 id, u16 age in 10 ms units }
 *    64-69 reserved
 *    70    XOR checksum of bytes 0..69
 *    71    padding
 *
 * Command frame (ESP32 -> STM32), 72 bytes:
 *    0     0xC3 sync
 *    1     0x3C sync
 *    2     command id
 *    3     sequence number -- acted on only when it changes
 *    4-5   argument
 *    6-70  reserved
 *    71    XOR checksum of bytes 0..70
 */

static uint8_t esp_tx_frame[ESP_FRAME_LEN];
static uint8_t esp_rx_frame[ESP_FRAME_LEN];
static uint32_t esp_next_tick = 0;
static uint8_t esp_last_seq = 0;
static uint8_t esp_seq_valid = 0;

/* Single-shot read of one regular channel. ScanConvMode is disabled and
 * NbrOfConversion is 1, so rank 1 is re-pointed at each channel in turn. */
static uint16_t ADC_ReadChannel(ADC_HandleTypeDef *hadc, uint32_t channel)
{
  ADC_ChannelConfTypeDef sConfig = {0};
  uint16_t value = 0;

  sConfig.Channel      = channel;
  sConfig.Rank         = ADC_REGULAR_RANK_1;
  /* 247.5 cycles: the sense pins are fed by high-impedance resistive
   * dividers, which the 2.5-cycle default cannot settle. */
  sConfig.SamplingTime = ADC_SAMPLETIME_247CYCLES_5;
  sConfig.SingleDiff   = ADC_SINGLE_ENDED;
  sConfig.OffsetNumber = ADC_OFFSET_NONE;
  sConfig.Offset       = 0;
  if (HAL_ADC_ConfigChannel(hadc, &sConfig) != HAL_OK)
  {
    return 0;
  }
  if (HAL_ADC_Start(hadc) != HAL_OK)
  {
    return 0;
  }
  if (HAL_ADC_PollForConversion(hadc, 5) == HAL_OK)
  {
    value = (uint16_t)HAL_ADC_GetValue(hadc);
  }
  HAL_ADC_Stop(hadc);
  return value;
}

static void Esp_PutU16(uint8_t *p, uint16_t v)
{
  p[0] = (uint8_t)v;
  p[1] = (uint8_t)(v >> 8);
}

static void Esp_PutU32(uint8_t *p, uint32_t v)
{
  p[0] = (uint8_t)v;
  p[1] = (uint8_t)(v >> 8);
  p[2] = (uint8_t)(v >> 16);
  p[3] = (uint8_t)(v >> 24);
}

static uint8_t Esp_Checksum(const uint8_t *p, uint32_t n)
{
  uint8_t x = 0;
  for (uint32_t i = 0; i < n; i++)
  {
    x ^= p[i];
  }
  return x;
}

static void Esp_BuildTelemetry(void)
{
  /* Channel map comes from Repository.ioc:
   *   VDC PB12 ADC1_IN11 | VU PB1 ADC1_IN12 | VW PA6 ADC2_IN3
   *   IU  PA0  ADC1_IN1  | IV PA4 ADC2_IN17 | IW PB0 ADC1_IN15
   * VV has no ADC channel: PB2 is configured as a GPIO output in both .ioc
   * files, so the README's "VV = PB2 = ADC2_IN12" was never true for this
   * pinout. It is sent as 0. To get a real VV, reassign PB2 to ADC2_IN12 in
   * CubeMX and read ADC_CHANNEL_12 on hadc2 here. */
  uint16_t vdc = ADC_ReadChannel(&hadc1, ADC_CHANNEL_11);
  uint16_t vu  = ADC_ReadChannel(&hadc1, ADC_CHANNEL_12);
  uint16_t vw  = ADC_ReadChannel(&hadc2, ADC_CHANNEL_3);
  uint16_t iu  = ADC_ReadChannel(&hadc1, ADC_CHANNEL_1);
  uint16_t iv  = ADC_ReadChannel(&hadc2, ADC_CHANNEL_17);
  uint16_t iw  = ADC_ReadChannel(&hadc1, ADC_CHANNEL_15);

  uint8_t flags = 0;
  if (fault_15v)                                          { flags |= 0x01u; }
  if (htim1.Instance->BDTR & TIM_BDTR_MOE)                { flags |= 0x02u; }
  if (motor_reverse)                                      { flags |= 0x04u; }
  if (HAL_GPIO_ReadPin(GPIOB, GPIO_PIN_10) == GPIO_PIN_SET) { flags |= 0x08u; }

  for (uint32_t i = 0; i < ESP_FRAME_LEN; i++)
  {
    esp_tx_frame[i] = 0;
  }
  esp_tx_frame[0] = ESP_TX_SYNC0;
  esp_tx_frame[1] = ESP_TX_SYNC1;
  Esp_PutU16(&esp_tx_frame[2],  vdc);
  Esp_PutU16(&esp_tx_frame[4],  vu);
  Esp_PutU16(&esp_tx_frame[6],  0u);   /* VV: no ADC channel on this pinout */
  Esp_PutU16(&esp_tx_frame[8],  vw);
  Esp_PutU16(&esp_tx_frame[10], iu);
  Esp_PutU16(&esp_tx_frame[12], iv);
  Esp_PutU16(&esp_tx_frame[14], iw);
  esp_tx_frame[16] = flags;
  esp_tx_frame[17] = dc_peer_count;
  Esp_PutU32(&esp_tx_frame[18], dc_peer_frames);
  Esp_PutU16(&esp_tx_frame[22], (uint16_t)(motor_freq_target * 100.0f));
  Esp_PutU16(&esp_tx_frame[24], (uint16_t)(motor_mod_target * 1000.0f));
  Esp_PutU32(&esp_tx_frame[26], board_id);
  Esp_PutU16(&esp_tx_frame[30], (uint16_t)(motor_mod_start * 1000.0f));
  Esp_PutU16(&esp_tx_frame[32], motor_ramp_ms);
  Esp_PutU16(&esp_tx_frame[34], (uint16_t)(motor_ramp_frac * 1000.0f));
  Esp_PutU16(&esp_tx_frame[36], (uint16_t)PWM_ARR);
  esp_tx_frame[38] = led_mode[0];
  esp_tx_frame[39] = led_mode[1];

  /* Peer table. Age is in 10 ms units so a 16-bit field covers ~11 minutes;
   * anything older saturates. */
  uint32_t now = HAL_GetTick();
  for (uint8_t i = 0; i < DC_MAX_PEERS; i++)
  {
    uint8_t *slot = &esp_tx_frame[40 + (i * 6u)];
    if (i < dc_peer_count)
    {
      uint32_t age = (now - dc_peer_seen[i]) / 10u;
      if (age > 0xFFFFu) { age = 0xFFFFu; }
      Esp_PutU32(&slot[0], dc_peer_id[i]);
      Esp_PutU16(&slot[4], (uint16_t)age);
    }
    else
    {
      Esp_PutU32(&slot[0], 0u);
      Esp_PutU16(&slot[4], 0u);
    }
  }

  esp_tx_frame[70] = Esp_Checksum(esp_tx_frame, 70);
}

static void Esp_ApplyCommand(const uint8_t *frame)
{
  if (frame[0] != ESP_RX_SYNC0 || frame[1] != ESP_RX_SYNC1)
  {
    return;   /* no ESP32 attached, or it had nothing staged yet */
  }
  if (Esp_Checksum(frame, ESP_FRAME_LEN - 1u) != frame[ESP_FRAME_LEN - 1u])
  {
    return;
  }

  uint8_t seq = frame[3];
  if (esp_seq_valid && seq == esp_last_seq)
  {
    return;   /* same command still sitting in the ESP32's buffer */
  }
  esp_last_seq = seq;
  esp_seq_valid = 1;

  uint16_t arg = (uint16_t)frame[4] | ((uint16_t)frame[5] << 8);

  switch (frame[2])
  {
    case ESP_CMD_SET_FREQ:
    {
      /* Open loop with no current limiting, so refuse to be driven somewhere
       * the drive cannot follow. */
      float v = (float)arg / 100.0f;
      if (v > 100.0f) { v = 100.0f; }
      motor_freq_target = v;
      break;
    }
    case ESP_CMD_SET_MOD:
    {
      float v = (float)arg / 1000.0f;
      if (v > 0.95f) { v = 0.95f; }
      motor_mod_target = v;
      break;
    }
    case ESP_CMD_START:
      motor_ramp_frac = 0.0f;   /* re-run the alignment/ramp from zero */
      motor_phase_idx = 0.0f;
      __HAL_TIM_MOE_ENABLE(&htim1);
      break;

    case ESP_CMD_STOP:
      /* Clearing MOE tri-states all six IPM inputs immediately. */
      __HAL_TIM_MOE_DISABLE(&htim1);
      break;

    case ESP_CMD_PING:
      DaisyChain_Send(DC_TYPE_PING);
      break;

    case ESP_CMD_SET_MOD_START:
    {
      float v = (float)arg / 1000.0f;
      if (v > 0.95f) { v = 0.95f; }
      motor_mod_start = v;
      break;
    }
    case ESP_CMD_SET_RAMP_MS:
    {
      /* Guard the divide: a zero ramp would make the step infinite. */
      uint16_t ms = arg;
      if (ms < 100u) { ms = 100u; }
      motor_ramp_ms = ms;
      motor_ramp_step = 1.0f / (((float)ms / 1000.0f) * PWM_UPDATE_HZ);
      break;
    }
    case ESP_CMD_SET_DIR:
      motor_reverse = (arg != 0u) ? 1u : 0u;
      break;

    case ESP_CMD_SET_LED:
    {
      uint8_t idx  = (uint8_t)(arg & 0xFFu);
      uint8_t mode = (uint8_t)(arg >> 8);
      if (idx < ESP_LED_COUNT && mode <= ESP_LED_OFF)
      {
        led_mode[idx] = mode;
        /* LED2 is only ever written by the blink path, so handing it back to
         * AUTO while it happens to be lit would strand it on until the next
         * peer frame. Clear it here instead. */
        if (idx == 1u && mode == ESP_LED_AUTO)
        {
          HAL_GPIO_WritePin(GPIOB, GPIO_PIN_7, GPIO_PIN_RESET);
          dc_led_off_tick = 0u;
        }
      }
      break;
    }

    case ESP_CMD_NOP:
    default:
      break;
  }
}

static void Esp_Exchange(void)
{
  Esp_BuildTelemetry();

  /* Software NSS: frame the transfer with PB9. The ESP32's SPI slave uses the
   * CS edges to delimit the transaction, so it must fall before the first
   * clock and rise after the last. */
  HAL_GPIO_WritePin(ESP_CS_PORT, ESP_CS_PIN, GPIO_PIN_RESET);
  ESP_CS_SETTLE();   /* CS setup before the first clock edge */
  HAL_StatusTypeDef st = HAL_SPI_TransmitReceive(&hspi1, esp_tx_frame,
                                                 esp_rx_frame, ESP_FRAME_LEN, 20);
  ESP_CS_SETTLE();   /* CS hold after the last clock edge */
  HAL_GPIO_WritePin(ESP_CS_PORT, ESP_CS_PIN, GPIO_PIN_SET);

  if (st == HAL_OK)
  {
    Esp_ApplyCommand(esp_rx_frame);
  }
  else
  {
    /* A timeout leaves the peripheral mid-word; reset it so the next transfer
     * starts on a word boundary. */
    HAL_SPI_Abort(&hspi1);
  }
}

static void Esp_Init(void)
{
  /* ADC1/ADC2 were initialised by CubeMX but never calibrated or started.
   * Calibration must run while the ADC is disabled, i.e. before any read. */
  if (HAL_ADCEx_Calibration_Start(&hadc1, ADC_SINGLE_ENDED) != HAL_OK)
  {
    Error_Handler();
  }
  if (HAL_ADCEx_Calibration_Start(&hadc2, ADC_SINGLE_ENDED) != HAL_OK)
  {
    Error_Handler();
  }

  /* CS idles high. MX_GPIO_Init() already made PB9 a push-pull output. */
  HAL_GPIO_WritePin(ESP_CS_PORT, ESP_CS_PIN, GPIO_PIN_SET);

  esp_next_tick = HAL_GetTick() + ESP_PERIOD_MS;
}

static void Esp_Poll(void)
{
  if ((int32_t)(HAL_GetTick() - esp_next_tick) >= 0)
  {
    Esp_Exchange();
    esp_next_tick = HAL_GetTick() + ESP_PERIOD_MS;
  }
}

/* USER CODE END 4 */

void Error_Handler(void)
{
  __disable_irq();
  while (1)
  {
  }
}
